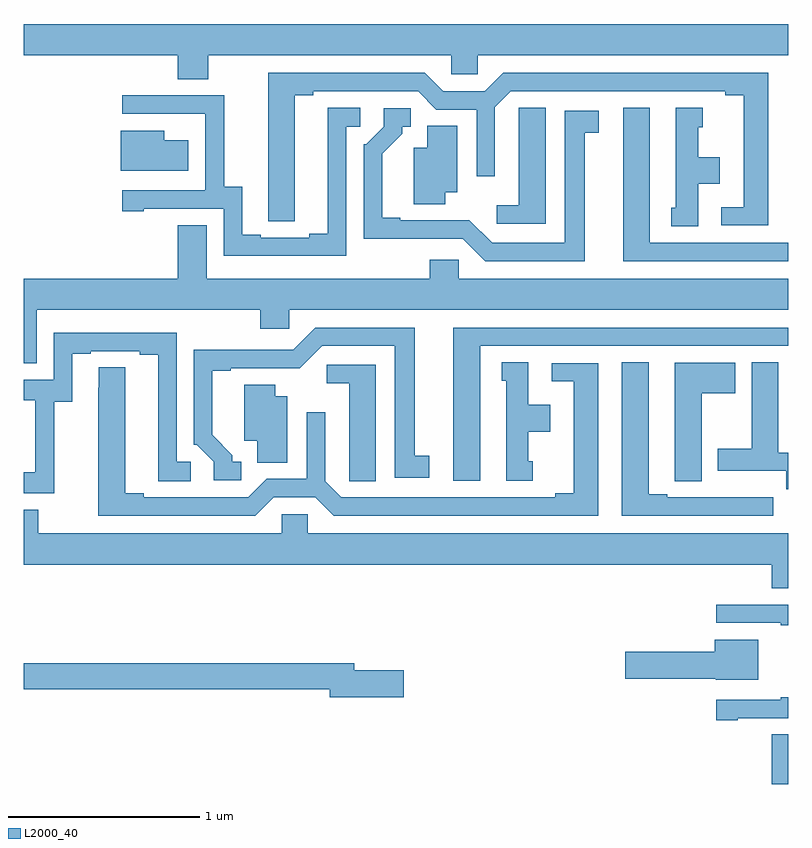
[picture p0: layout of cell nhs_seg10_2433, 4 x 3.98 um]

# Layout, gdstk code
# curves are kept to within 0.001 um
import gdstk
lib = gdstk.Library(unit=1e-6, precision=1e-09)
def R(c, l, rs):  # rectangles x0, y0, x1, y1
    for r in rs: c.add(gdstk.rectangle(r[:2], r[2:], *l))
def P(c, l, *ps):  # polygons
    for p in ps: c.add(gdstk.Polygon(p, *l))
L2000_40 = (2000, 40)

nhs_seg10_2433 = lib.new_cell('nhs_seg10_2433')
R(nhs_seg10_2433, L2000_40, [(244.913,1300.5,245,1300.76)])
P(nhs_seg10_2433, L2000_40, [(241.965,1304.312),(243.237,1304.312),(243.237,1304.214),(243.375,1304.214),(243.375,1304.312),(245,1304.312),(245,1304.476),(241,1304.476),(241,1304.312),(241.805,1304.312),(241.805,1304.188),(241.965,1304.188)],
  [(244.894,1304.22),(243.509,1304.22),(243.413,1304.124),(243.195,1304.124),(243.099,1304.22),(242.279,1304.22),(242.28,1303.444),(242.419,1303.444),(242.419,1304.104),(242.515,1304.104),(242.515,1304.124),(243.063,1304.124),(243.159,1304.028),(243.369,1304.028),(243.369,1303.68),(243.465,1303.68),(243.465,1304.04),(243.549,1304.124),(244.67,1304.124),(244.67,1304.104),(244.766,1304.104),(244.766,1303.518),(244.65,1303.518),(244.65,1303.422),(244.894,1303.422)],
  [(242.688,1303.938),(242.761,1303.938),(242.761,1304.039),(242.591,1304.039),(242.591,1303.379),(242.495,1303.379),(242.495,1303.359),(242.239,1303.359),(242.239,1303.374),(242.143,1303.374),(242.143,1303.625),(242.049,1303.625),(242.049,1304.103),(241.515,1304.103),(241.515,1304.007),(241.949,1304.007),(241.949,1304.006),(241.95,1304.006),(241.95,1303.605),(241.515,1303.605),(241.515,1303.497),(241.627,1303.497),(241.627,1303.509),(242.046,1303.509),(242.046,1303.263),(242.688,1303.263)],
  [(243.73,1304.039),(243.591,1304.039),(243.591,1303.931),(243.59,1303.931),(243.59,1303.528),(243.474,1303.528),(243.474,1303.431),(243.73,1303.431)],
  [(245,1303.332),(244.276,1303.332),(244.276,1304.038),(244.136,1304.038),(244.136,1303.236),(245,1303.236)],
  [(244.528,1303.64),(244.642,1303.64),(244.642,1303.78),(244.528,1303.78),(244.528,1303.935),(244.552,1303.935),(244.552,1304.038),(244.412,1304.038),(244.412,1303.515),(244.388,1303.515),(244.388,1303.417),(244.528,1303.417)],
  [(243.934,1303.906),(244.009,1303.906),(244.009,1304.022),(243.83,1304.022),(243.83,1303.332),(243.45,1303.332),(243.332,1303.45),(242.971,1303.449),(242.971,1303.462),(242.875,1303.462),(242.875,1303.798),(242.98,1303.903),(242.98,1303.938),(243.025,1303.938),(243.025,1304.034),(242.883,1304.034),(242.883,1303.938),(242.793,1303.848),(242.778,1303.848),(242.778,1303.352),(243.297,1303.353),(243.414,1303.236),(243.934,1303.236)],
  [(243.205,1303.595),(243.268,1303.595),(243.268,1303.943),(243.11,1303.943),(243.11,1303.828),(243.041,1303.828),(243.041,1303.534),(243.205,1303.534)],
  [(241.861,1303.867),(241.735,1303.867),(241.735,1303.918),(241.508,1303.918),(241.508,1303.709),(241.861,1303.709)],
  [(241,1302.7),(241.069,1302.7),(241.069,1302.98),(242.237,1302.98),(242.237,1302.882),(242.388,1302.882),(242.388,1302.98),(245,1302.98),(245,1303.144),(243.276,1303.144),(243.276,1303.242),(243.125,1303.242),(243.125,1303.144),(241.957,1303.144),(241.957,1303.424),(241.805,1303.424),(241.805,1303.144),(241,1303.144)],
  [(243.388,1302.792),(245,1302.792),(245,1302.888),(243.248,1302.888),(243.248,1302.087),(243.388,1302.087)],
  [(242.137,1302.186),(242.092,1302.186),(242.092,1302.221),(241.987,1302.326),(241.987,1302.663),(242.083,1302.663),(242.083,1302.675),(242.444,1302.674),(242.562,1302.792),(242.942,1302.792),(242.942,1302.102),(243.121,1302.102),(243.121,1302.218),(243.046,1302.218),(243.046,1302.888),(242.526,1302.888),(242.409,1302.771),(242.153,1302.771),(242.153,1302.773),(241.89,1302.773),(241.89,1302.276),(241.905,1302.276),(241.995,1302.186),(241.995,1302.09),(242.137,1302.09)],
  [(241.161,1302.499),(241.255,1302.499),(241.255,1302.75),(241.351,1302.75),(241.351,1302.765),(241.607,1302.765),(241.607,1302.745),(241.703,1302.745),(241.703,1302.085),(241.873,1302.085),(241.873,1302.186),(241.8,1302.186),(241.8,1302.861),(241.158,1302.861),(241.158,1302.615),(241,1302.615),(241,1302.507),(241.061,1302.507),(241.061,1302.13),(241,1302.13),(241,1302.021),(241.161,1302.021)],
  [(243.664,1302.189),(243.64,1302.189),(243.64,1302.344),(243.754,1302.344),(243.754,1302.484),(243.64,1302.484),(243.64,1302.707),(243.5,1302.707),(243.5,1302.609),(243.524,1302.609),(243.524,1302.087),(243.664,1302.087)],
  [(244.921,1302),(244.808,1302),(244.808,1302.001),(244.642,1302.001),(244.642,1302),(244.366,1302),(244.366,1302.015),(244.27,1302.015),(244.27,1302.707),(244.13,1302.707),(244.13,1301.904),(244.921,1301.904)],
  [(245,1302.234),(244.948,1302.234),(244.948,1302.596),(244.947,1302.596),(244.947,1302.707),(244.808,1302.707),(244.808,1302.255),(244.631,1302.255),(244.631,1302.138),(244.99,1302.138),(244.99,1302.042),(245,1302.042)],
  [(244.546,1302.544),(244.723,1302.544),(244.723,1302.703),(244.406,1302.703),(244.406,1302.193),(244.407,1302.193),(244.407,1302.085),(244.546,1302.085)],
  [(242.307,1302),(242.525,1302),(242.621,1301.904),(244.006,1301.904),(244.006,1302.702),(243.762,1302.702),(243.762,1302.606),(243.878,1302.606),(243.878,1302.02),(243.782,1302.02),(243.782,1302),(242.661,1302),(242.577,1302.084),(242.577,1302.445),(242.481,1302.445),(242.481,1302.096),(242.271,1302.096),(242.175,1302),(241.627,1302),(241.627,1302.02),(241.531,1302.02),(241.531,1302.68),(241.392,1302.68),(241.391,1301.904),(242.211,1301.904)],
  [(242.842,1302.693),(242.586,1302.693),(242.586,1302.596),(242.702,1302.596),(242.702,1302.193),(242.703,1302.193),(242.703,1302.085),(242.842,1302.085)],
  [(242.38,1302.529),(242.317,1302.529),(242.317,1302.59),(242.153,1302.59),(242.153,1302.296),(242.222,1302.296),(242.222,1302.181),(242.38,1302.181)],
  [(245,1301.812),(242.487,1301.812),(242.487,1301.91),(242.349,1301.91),(242.349,1301.812),(241.077,1301.812),(241.077,1301.936),(241,1301.936),(241,1301.648),(244.913,1301.648),(244.913,1301.524),(245,1301.524)],
  [(245,1301.439),(244.623,1301.439),(244.623,1301.343),(244.961,1301.343),(244.961,1301.331),(245,1301.331)],
  [(244.843,1301.254),(244.616,1301.254),(244.616,1301.193),(244.146,1301.193),(244.146,1301.051),(244.62,1301.051),(244.62,1301.045),(244.843,1301.045)],
  [(242.989,1301.096),(242.728,1301.096),(242.728,1301.132),(241,1301.132),(241,1300.996),(242.6,1300.996),(242.6,1300.954),(242.989,1300.954)],
  [(244.735,1300.845),(245,1300.845),(245,1300.954),(244.961,1300.954),(244.961,1300.941),(244.623,1300.941),(244.623,1300.833),(244.735,1300.833)])

lib.write_gds('nhs_seg10_2433.gds')
